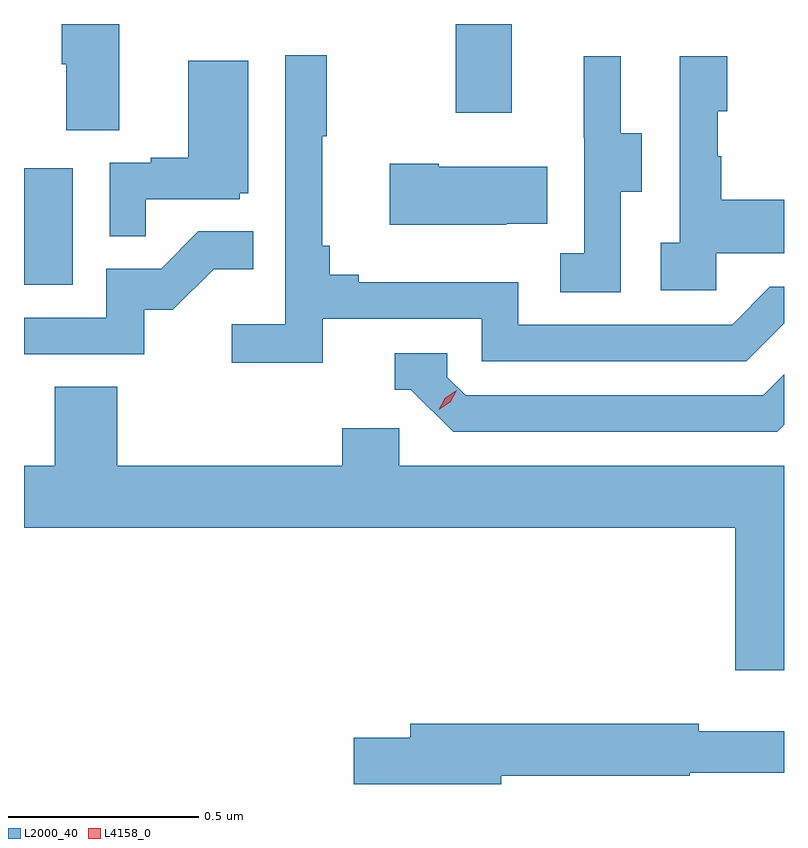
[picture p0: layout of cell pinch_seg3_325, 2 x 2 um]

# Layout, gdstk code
import gdstk
lib = gdstk.Library(unit=1e-6, precision=1e-09)
def R(c, l, rs):  # rectangles x0, y0, x1, y1
    for r in rs: c.add(gdstk.rectangle(r[:2], r[2:], *l))
def P(c, l, *ps):  # polygons
    for p in ps: c.add(gdstk.Polygon(p, *l))
L2000_40 = (2000, 40)
L4158_0 = (4158, 0)

pinch_seg3_325 = lib.new_cell('pinch_seg3_325')
R(pinch_seg3_325, L2000_40, [(1014.284,709.548,1014.412,709.855), (1015.42,710.001,1015.567,710.234)])
P(pinch_seg3_325, L2000_40, [(1014.535,710.234),(1014.383,710.234),(1014.383,710.128),(1014.395,710.128),(1014.395,709.954),(1014.535,709.954)],
  [(1015.07,709.458),(1015.488,709.458),(1015.488,709.347),(1016.185,709.347),(1016.284,709.446),(1016.284,709.542),(1016.247,709.542),(1016.148,709.443),(1015.584,709.443),(1015.584,709.555),(1015.165,709.555),(1015.165,709.574),(1015.088,709.574),(1015.088,709.651),(1015.069,709.651),(1015.069,709.939),(1015.081,709.939),(1015.081,710.152),(1014.972,710.152),(1014.972,709.444),(1014.831,709.444),(1014.831,709.342),(1015.07,709.342)],
  [(1015.854,709.792),(1015.909,709.792),(1015.909,709.947),(1015.855,709.947),(1015.855,710.149),(1015.757,710.149),(1015.757,709.935),(1015.758,709.935),(1015.758,709.631),(1015.695,709.631),(1015.695,709.528),(1015.854,709.528)],
  [(1016.106,709.631),(1016.284,709.631),(1016.284,709.771),(1016.119,709.771),(1016.119,709.886),(1016.109,709.886),(1016.109,710.004),(1016.134,710.004),(1016.134,710.149),(1016.01,710.149),(1016.01,709.658),(1015.959,709.658),(1015.959,709.533),(1016.106,709.533)],
  [(1014.605,709.773),(1014.852,709.773),(1014.852,709.788),(1014.874,709.788),(1014.874,710.137),(1014.716,710.137),(1014.716,709.882),(1014.617,709.882),(1014.617,709.869),(1014.51,709.869),(1014.51,709.675),(1014.605,709.675)],
  [(1015.553,709.709),(1015.661,709.709),(1015.661,709.858),(1015.375,709.858),(1015.375,709.866),(1015.247,709.866),(1015.247,709.706),(1015.553,709.706)],
  [(1014.6,709.482),(1014.676,709.482),(1014.783,709.589),(1014.887,709.589),(1014.887,709.688),(1014.743,709.688),(1014.645,709.59),(1014.501,709.59),(1014.501,709.461),(1014.284,709.461),(1014.284,709.365),(1014.6,709.365)],
  [(1016.284,709.179),(1016.284,709.312),(1016.229,709.257),(1015.446,709.257),(1015.398,709.305),(1015.398,709.368),(1015.259,709.368),(1015.259,709.272),(1015.302,709.272),(1015.413,709.161),(1016.266,709.161)],
  [(1016.284,709.072),(1015.272,709.072),(1015.272,709.17),(1015.121,709.17),(1015.121,709.072),(1014.53,709.072),(1014.53,709.28),(1014.365,709.28),(1014.365,709.072),(1014.284,709.072),(1014.284,708.908),(1016.156,708.908),(1016.156,708.534),(1016.284,708.534)],
  [(1015.54,708.256),(1016.036,708.256),(1016.036,708.264),(1016.284,708.264),(1016.284,708.373),(1016.06,708.373),(1016.06,708.392),(1015.301,708.392),(1015.301,708.356),(1015.152,708.356),(1015.152,708.234),(1015.54,708.234)])
P(pinch_seg3_325, L4158_0, [(1015.375,709.219),(1015.375,709.219),(1015.392,709.251),(1015.423,709.27),(1015.423,709.27),(1015.423,709.27),(1015.406,709.238),(1015.375,709.219)])

lib.write_gds('pinch_seg3_325.gds')
